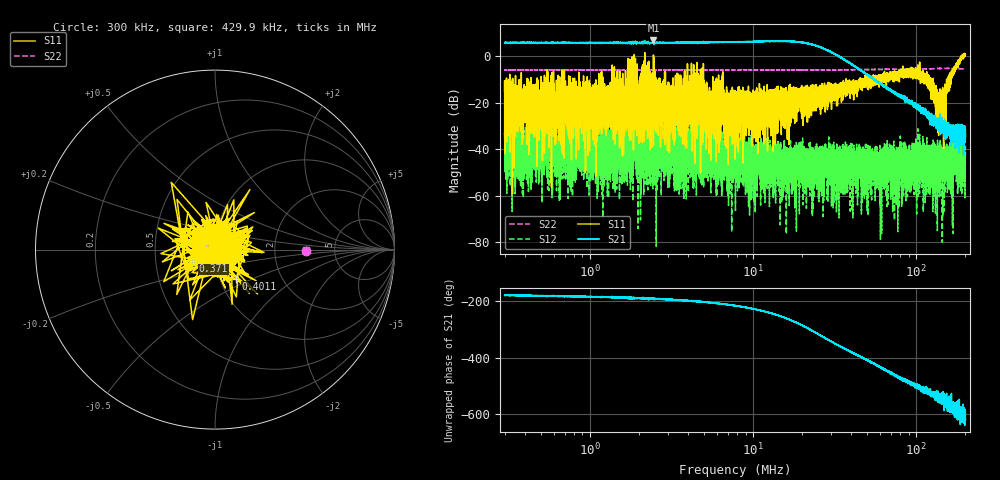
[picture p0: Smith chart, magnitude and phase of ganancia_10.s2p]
# Hz S DB R 50
! CMT, M5065, 19127446, 24.2.4/2
! Date: 11/1/2024 4:19:53 PM
! Data: Format (Calibration Info)
! Freq	S11:dB/Ang(F2)	S21:dB/Ang(F2)	S12:dB/Ang(F2)	S22:dB/Ang(F2)
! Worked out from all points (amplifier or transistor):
!   9000 points, 300 kHz to 200 MHz, reference 50 ohm
!   highest |S21| = 6.8 dB at 2.451 MHz (marker M1)
!   |S21| within 3 dB of that: start of sweep to 25.8 MHz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
!   unconditionally stable (mu >= 1): start of sweep to 1.868 MHz; 2.452 MHz to 188.8 MHz; 189.556 MHz to 190.1667 MHz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
!   at 886.8 kHz: K = 7.48, MAG = 7.1 dB, |S12| = -31.9 dB
!   at 7.749 MHz: K = 17.65, MAG = 7.6 dB, |S12| = -39.8 dB
!   at 200 MHz: K = -375.34, MSG = 1.9 dB, |S12| = -38.3 dB
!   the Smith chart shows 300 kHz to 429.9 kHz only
!   S11 on the Smith chart (normalised r, x): 300 kHz: 0.99, +0.04; 371 kHz: 0.78, -0.10; 401.1 kHz: 1.19, -0.40; 429.9 kHz: 1.05, +0.12
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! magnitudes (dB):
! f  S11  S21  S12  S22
! 300 kHz  -33.8  5.9  -35.0  -5.9
! 310.1 kHz  -20.3  5.8  -37.6  -5.9
! 371 kHz  -17.2  5.9  -39.1  -5.9
! 401.1 kHz  -14.0  5.8  -47.3  -5.9
! 429.9 kHz  -24.1  5.7  -40.3  -5.9
! 618.4 kHz  -29.5  5.8  -37.1  -5.9
! 689.6 kHz  -13.4  5.6  -31.5  -5.9
! 886.8 kHz  -23.9  5.8  -31.9  -5.9
! 2.451 MHz  0.6  6.8  -39.2  -5.9
! 2.621 MHz  -20.4  5.8  -36.9  -5.9
! 4.338 MHz  -27.3  5.9  -30.0  -5.8
! 7.749 MHz  -25.7  6.2  -39.8  -5.8
! 10 MHz  -23.9  6.3  -45.5  -5.8
! 10.66 MHz  -18.6  6.4  -39.1  -5.8
! 22.91 MHz  -18.0  5.1  -47.0  -5.8
! 67.71 MHz  -10.6  -13.7  -44.0  -5.6
! 107.8 MHz  -7.1  -23.6  -46.9  -5.4
! 124 MHz  -13.1  -26.3  -42.2  -5.3
! 139.2 MHz  -28.7  -30.6  -45.9  -5.2
! 166.7 MHz  -7.0  -33.3  -39.2  -5.2
! 193.3 MHz  -0.7  -32.6  -53.8  -5.3
! 200 MHz  0.9  -34.5  -38.3  -5.3
